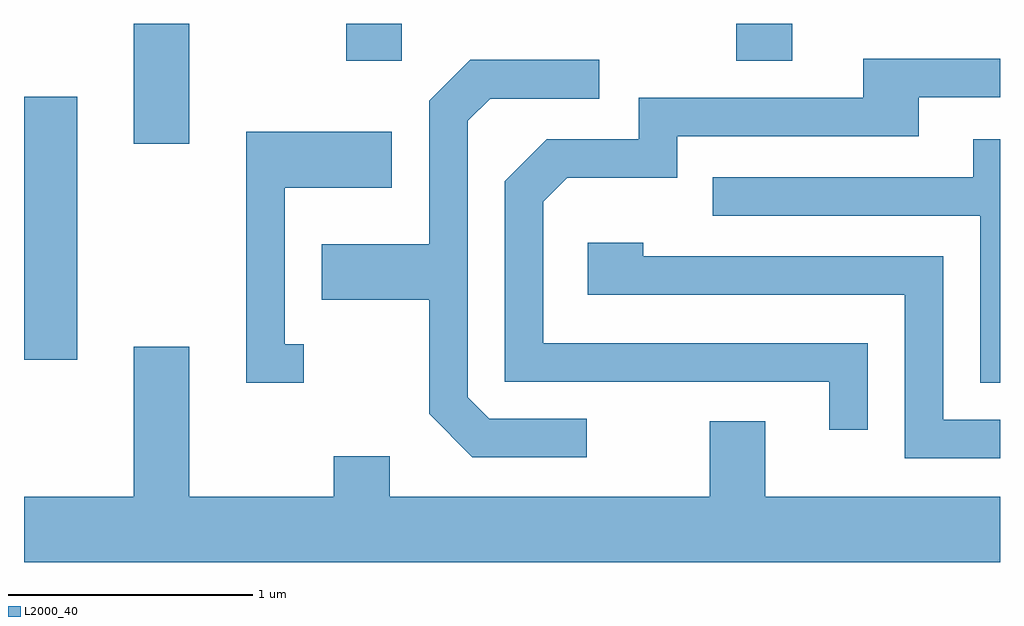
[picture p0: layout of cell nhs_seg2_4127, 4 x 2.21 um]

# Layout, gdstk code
import gdstk
lib = gdstk.Library(unit=1e-6, precision=1e-09)
def R(c, l, rs):  # rectangles x0, y0, x1, y1
    for r in rs: c.add(gdstk.rectangle(r[:2], r[2:], *l))
def P(c, l, *ps):  # polygons
    for p in ps: c.add(gdstk.Polygon(p, *l))
L2000_40 = (2000, 40)

nhs_seg2_4127 = lib.new_cell('nhs_seg2_4127')
R(nhs_seg2_4127, L2000_40, [(305.611,1102.426,305.829,1103.504), (306.061,1103.311,306.289,1103.802), (306.931,1103.651,307.159,1103.802), (308.531,1103.651,308.759,1103.802)])
P(nhs_seg2_4127, L2000_40, [(309.069,1102.494),(307.739,1102.494),(307.739,1103.074),(307.837,1103.171),(308.289,1103.171),(308.289,1103.341),(309.279,1103.341),(309.279,1103.501),(309.611,1103.501),(309.611,1103.659),(309.051,1103.659),(309.051,1103.499),(308.131,1103.499),(308.131,1103.329),(307.754,1103.329),(307.581,1103.157),(307.581,1102.336),(308.911,1102.336),(308.911,1102.138),(309.069,1102.138)],
  [(307.918,1102.184),(307.517,1102.184),(307.429,1102.272),(307.429,1103.404),(307.522,1103.496),(307.968,1103.496),(307.968,1103.654),(307.439,1103.654),(307.271,1103.487),(307.271,1102.899),(306.831,1102.899),(306.831,1102.671),(307.271,1102.671),(307.271,1102.204),(307.449,1102.026),(307.918,1102.026)],
  [(306.758,1102.489),(306.679,1102.489),(306.679,1103.131),(307.119,1103.131),(307.119,1103.359),(306.521,1103.359),(306.521,1102.331),(306.758,1102.331)],
  [(309.611,1103.329),(309.501,1103.329),(309.501,1103.174),(308.433,1103.174),(308.433,1103.016),(309.531,1103.016),(309.531,1102.331),(309.611,1102.331)],
  [(309.611,1102.179),(309.379,1102.179),(309.379,1102.849),(308.149,1102.849),(308.149,1102.904),(307.921,1102.904),(307.921,1102.691),(309.221,1102.691),(309.221,1102.021),(309.611,1102.021)],
  [(309.611,1101.864),(308.649,1101.864),(308.649,1102.174),(308.421,1102.174),(308.421,1101.864),(307.109,1101.864),(307.109,1102.029),(306.881,1102.029),(306.881,1101.864),(306.289,1101.864),(306.289,1102.479),(306.061,1102.479),(306.061,1101.864),(305.611,1101.864),(305.611,1101.596),(309.611,1101.596)])

lib.write_gds('nhs_seg2_4127.gds')
